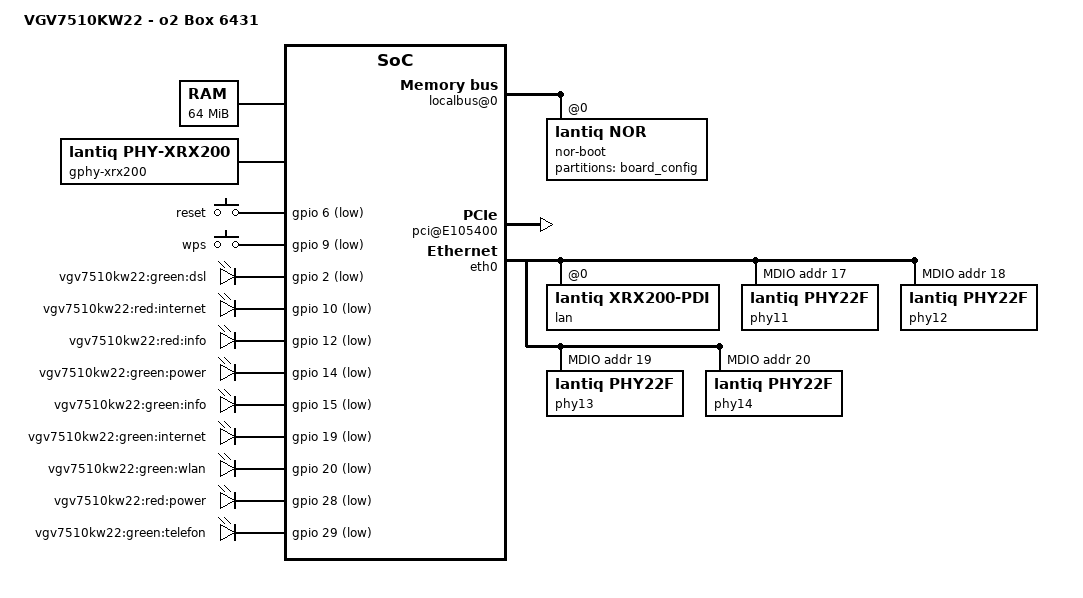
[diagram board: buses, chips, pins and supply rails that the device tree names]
/include/ "vr9.dtsi"

/ {
	model = "VGV7510KW22 - o2 Box 6431";

	chosen {
		bootargs = "console=ttyLTQ0,115200 init=/etc/preinit";

		leds {
			boot = &power_green;
			failsafe = &power_red;
			running = &power_green;

			dsl = &dsl;
			internet = &internet_green;
			wifi = &wifi;
		};
	};

	memory@0 {
		reg = <0x0 0x4000000>;
	};

	fpi@10000000 {
		localbus@0 {
			nor-boot@0 {
				compatible = "lantiq,nor";
				bank-width = <2>;
				reg = <0 0x0 0x1000000>;
				#address-cells = <1>;
				#size-cells = <1>;

				boardconfig: partition@fe0000 {
					label = "board_config";
					reg = <0xfe0000 0x20000>;
					read-only;
				};
			};
		};

		gpio: pinmux@E100B10 {
			pinctrl-names = "default";
			pinctrl-0 = <&state_default>;

			state_default: pinmux {
				ip101a-rst {
					lantiq,pins = "io46";
					lantiq,output = <0>;
					lantiq,pull = <1>;
				};
				gphy-leds {
					lantiq,groups = "gphy0 led1",
							"gphy1 led0", "gphy1 led1";
					lantiq,function = "gphy";
					lantiq,open-drain = <0>;
					lantiq,pull = <0>;
					lantiq,output = <1>;
				};
				stp {
					lantiq,groups = "stp";
					lantiq,function = "stp";
					lantiq,pull = <2>;
					lantiq,open-drain = <0>;
					lantiq,output = <1>;
				};
				mdio {
					lantiq,groups = "mdio";
					lantiq,function = "mdio";
				};
				pci-rst {
					lantiq,pins = "io21";
					lantiq,open-drain = <0>;
					lantiq,pull = <0>;
					lantiq,output = <1>;
				};
				spi {
					lantiq,groups = "spi_di", "spi_do", "spi_clk";
					lantiq,function = "spi";
				};
			};
		};

		stp: stp@E100BB0 {
			compatible = "lantiq,gpio-stp-xway";
			reg = <0xE100BB0 0x40>;
			#gpio-cells = <2>;
			gpio-controller;

			lantiq,shadow = <0xff>;
			lantiq,groups = <0x1>;
			lantiq,dsl = <0x0>;
			lantiq,phy1 = <0x7>;
			lantiq,phy2 = <0x7>; /* enable gphy0 led2 = LAN2 LED */
		};

		ifxhcd@E101000 {
			status = "okay";
			gpios = <&gpio 47 0>;
		};

		pci@E105400 {
			status = "okay";
			lantiq,bus-clock = <33333333>;
			interrupt-map-mask = <0xf800 0x0 0x0 0x7>;
			interrupt-map = <
				0x7000 0 0 1 &icu0 30 1 // slot 14, irq 30
				>;
			gpio-reset = <&gpio 21 0>;
			req-mask = <0x1>;	/* GNT1 */
		};

		pcie@d900000 {
			status = "disabled";
		};
	};

	gphy-xrx200 {
		compatible = "lantiq,phy-xrx200";
		firmware1 = "lantiq/vr9_phy22f_a1x.bin";	/*VR9 1.1*/
		firmware2 = "lantiq/vr9_phy22f_a2x.bin";	/*VR9 1.2*/
		phys = [ 00 01 ];
	};

	ralink_eep {
		compatible = "ralink,eeprom";
		ralink,eeprom = "RT3062.eeprom";
	};

	gpio-keys-polled {
		compatible = "gpio-keys-polled";
		#address-cells = <1>;
		#size-cells = <0>;
		poll-interval = <100>;

		reset {
			label = "reset";
			gpios = <&gpio 6 1>;
			linux,code = <0x198>;
		};

		wps {
			label = "wps";
			gpios = <&gpio 9 1>;
			linux,code = <0x211>;
		};
	};

	gpio-leds {
		compatible = "gpio-leds";

		dsl: dsl {
			label = "vgv7510kw22:green:dsl";
			gpios = <&gpio 2 1>;
		};

		internet_red {
			label = "vgv7510kw22:red:internet";
			gpios = <&gpio 10 1>;
		};

		info_red {
			label = "vgv7510kw22:red:info";
			gpios = <&gpio 12 1>;
		};

		power_green: power {
			label = "vgv7510kw22:green:power";
			gpios = <&gpio 14 1>;
			default-state = "keep";
		};

		info_green {
			label = "vgv7510kw22:green:info";
			gpios = <&gpio 15 1>;
		};

		internet_green: internet_green {
			label = "vgv7510kw22:green:internet";
			gpios = <&gpio 19 1>;
		};

		wifi: wifi {
			label = "vgv7510kw22:green:wlan";
			gpios = <&gpio 20 1>;
		};

		power_red: power2 {
			label = "vgv7510kw22:red:power";
			gpios = <&gpio 28 1>;
		};

		phone {
			label = "vgv7510kw22:green:telefon";
			gpios = <&gpio 29 1>;
		};
	};
};

&eth0 {
	lan: interface@0 {
		compatible = "lantiq,xrx200-pdi";
		#address-cells = <1>;
		#size-cells = <0>;
		reg = <0>;
		mtd-mac-address = <&boardconfig 0x16>;
		lantiq,switch;

		ethernet@2 {
			compatible = "lantiq,xrx200-pdi-port";
			reg = <2>;
			phy-mode = "mii";
			phy-handle = <&phy11>;
		};
		ethernet@3 {
			compatible = "lantiq,xrx200-pdi-port";
			reg = <3>;
			phy-mode = "mii";
			phy-handle = <&phy12>;
		};
		ethernet@4 {
			compatible = "lantiq,xrx200-pdi-port";
			reg = <4>;
			phy-mode = "mii";
			phy-handle = <&phy13>;
		};
		ethernet@5 {
			compatible = "lantiq,xrx200-pdi-port";
			reg = <5>;
			phy-mode = "mii";
			phy-handle = <&phy14>;
		};
	};

	mdio@0 {
		#address-cells = <1>;
		#size-cells = <0>;
		compatible = "lantiq,xrx200-mdio";

		phy11: ethernet-phy@11 {
			reg = <0x11>;
			compatible = "lantiq,phy22f", "ethernet-phy-ieee802.3-c22";
		};
		phy12: ethernet-phy@12 {
			reg = <0x12>;
			compatible = "lantiq,phy22f", "ethernet-phy-ieee802.3-c22";
		};
		phy13: ethernet-phy@13 {
			reg = <0x13>;
			compatible = "lantiq,phy22f", "ethernet-phy-ieee802.3-c22";
		};
		phy14: ethernet-phy@14 {
			reg = <0x14>;
			compatible = "lantiq,phy22f", "ethernet-phy-ieee802.3-c22";
		};
	};
};
